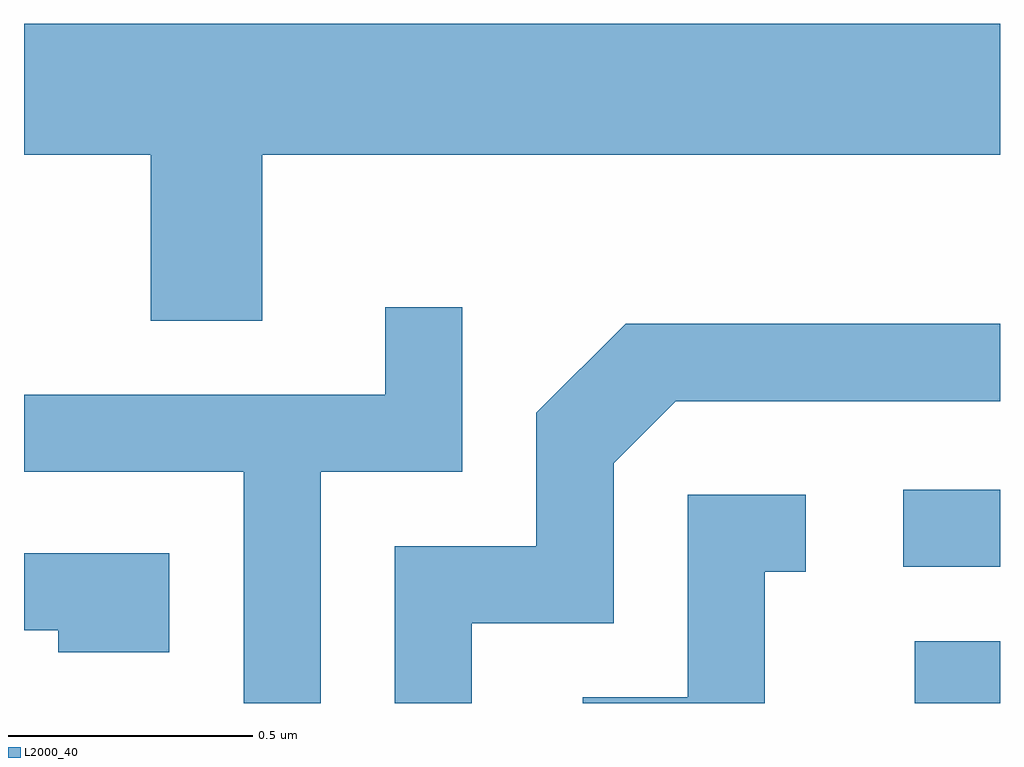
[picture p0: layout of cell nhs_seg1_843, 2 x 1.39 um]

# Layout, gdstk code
import gdstk
lib = gdstk.Library(unit=1e-6, precision=1e-09)
def R(c, l, rs):  # rectangles x0, y0, x1, y1
    for r in rs: c.add(gdstk.rectangle(r[:2], r[2:], *l))
def P(c, l, *ps):  # polygons
    for p in ps: c.add(gdstk.Polygon(p, *l))
L2000_40 = (2000, 40)

nhs_seg1_843 = lib.new_cell('nhs_seg1_843')
R(nhs_seg1_843, L2000_40, [(193.436,860.712,193.611,860.839), (193.413,860.991,193.611,861.149)])
P(nhs_seg1_843, L2000_40, [(192.099,861.836),(193.611,861.836),(193.611,862.104),(191.611,862.104),(191.611,861.836),(191.871,861.836),(191.871,861.496),(192.099,861.496)],
  [(192.219,861.186),(192.509,861.186),(192.509,861.523),(192.351,861.523),(192.351,861.344),(191.611,861.344),(191.611,861.186),(192.061,861.186),(192.061,860.712),(192.219,860.712)],
  [(192.529,860.876),(192.819,860.876),(192.819,861.204),(192.947,861.331),(193.611,861.331),(193.611,861.489),(192.844,861.489),(192.661,861.307),(192.661,861.034),(192.371,861.034),(192.371,860.712),(192.529,860.712)],
  [(193.129,860.981),(193.213,860.981),(193.213,861.139),(192.971,861.139),(192.971,860.724),(192.756,860.724),(192.756,860.712),(193.129,860.712)],
  [(191.909,861.019),(191.611,861.019),(191.611,860.861),(191.681,860.861),(191.681,860.816),(191.909,860.816)])

lib.write_gds('nhs_seg1_843.gds')
